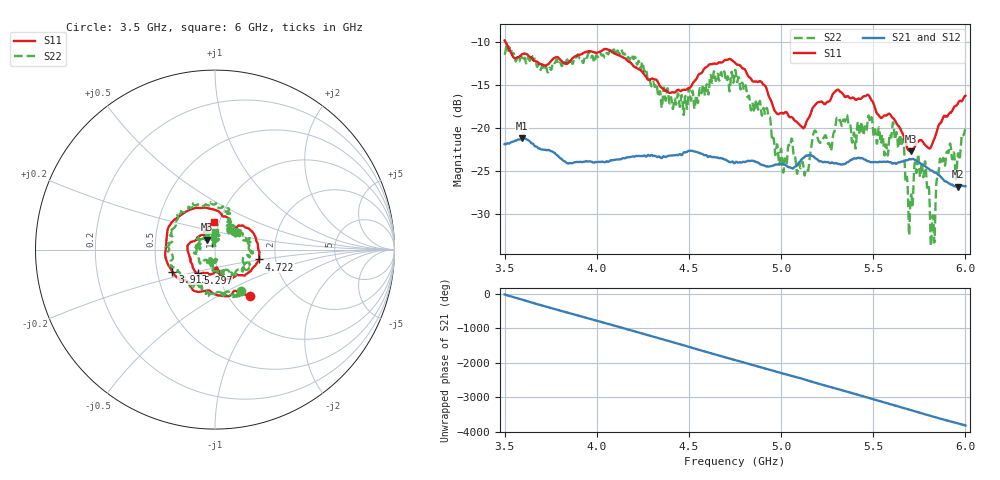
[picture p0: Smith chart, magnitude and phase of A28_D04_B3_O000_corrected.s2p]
! Created with skrf 1.9.0 (http://scikit-rf.org).
# Hz S RI R 50.0
!freq ReS11 ImS11 ReS21 ImS21 ReS12 ImS12 ReS22 ImS22
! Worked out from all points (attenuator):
!   1601 points, 3.5 GHz to 6 GHz, reference 50 ohm
!   highest |S21| = -21.22 dB at 3.595 GHz (marker M1); lowest = -26.9 dB at 5.958 GHz (marker M2)
!   lowest |S11| = -22.7 dB at 5.703 GHz (marker M3), VSWR 1.16, Z = 45.3 + j5.1 ohm
!   |S11| at or under -10 dB: 3.505 GHz to end of sweep
!   |S22| runs from -33.8 to -10.3 dB; largest |S21 - S12| = 0.0011
!   S11 on the Smith chart (normalised r, x): 3.5 GHz: 1.25, -0.72; 3.913 GHz: 0.60, -0.16; 4.722 GHz: 1.64, -0.19; 5.297 GHz: 0.80, -0.22; 6 GHz: 0.95, +0.30
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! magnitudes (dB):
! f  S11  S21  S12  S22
! 3.5 GHz  -9.8  -21.9  -21.9  -11.3
! 3.595 GHz  -11.4  -21.2  -21.2  -12.1
! 3.913 GHz  -11.5  -24.0  -23.9  -11.9
! 3.917 GHz  -11.4  -24.0  -24.0  -11.9
! 4.141 GHz  -11.8  -23.5  -23.5  -11.3
! 4.334 GHz  -14.8  -23.4  -23.3  -16.4
! 4.722 GHz  -12.0  -24.0  -24.0  -15.6
! 4.75 GHz  -12.4  -24.1  -24.0  -13.3
! 5.019 GHz  -18.3  -24.3  -24.2  -23.7
! 5.052 GHz  -18.8  -24.6  -24.6  -21.8
! 5.138 GHz  -19.3  -23.2  -23.1  -24.8
! 5.167 GHz  -17.9  -23.3  -23.2  -21.8
! 5.297 GHz  -15.7  -24.1  -24.0  -19.5
! 5.584 GHz  -18.4  -24.0  -23.9  -21.8
! 5.655 GHz  -20.5  -23.9  -23.9  -22.1
! 5.703 GHz  -22.7  -23.7  -23.6  -28.1
! 5.734 GHz  -21.8  -23.9  -23.8  -25.3
! 5.773 GHz  -21.8  -24.4  -24.3  -25.6
! 5.822 GHz  -21.8  -25.0  -25.0  -30.2
! 5.869 GHz  -19.3  -25.8  -25.7  -24.2
! 5.958 GHz  -17.2  -26.9  -26.8  -23.4
! 6 GHz  -16.3  -26.8  -26.7  -20.2
